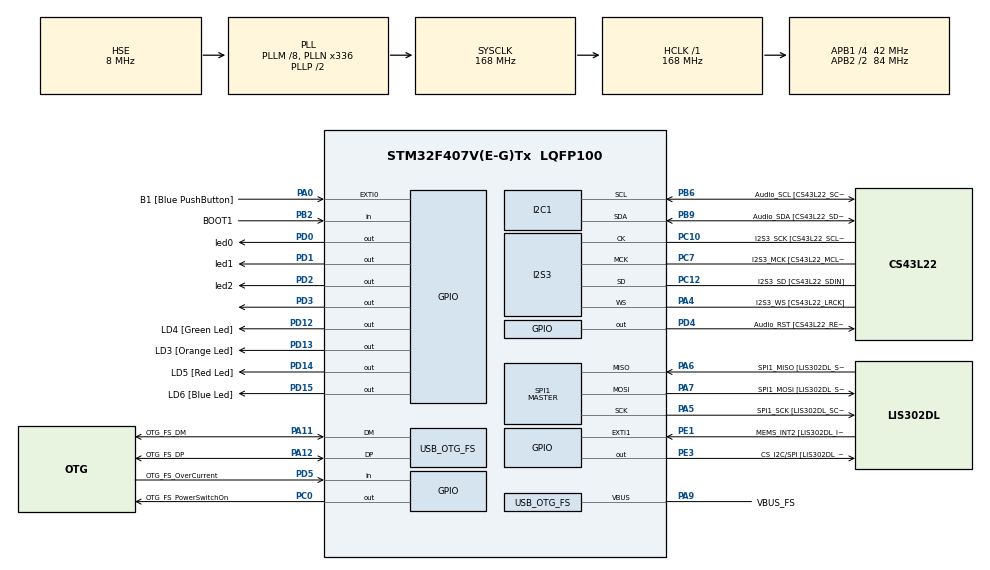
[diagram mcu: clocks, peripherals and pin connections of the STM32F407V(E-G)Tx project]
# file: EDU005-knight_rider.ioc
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I2S3.AudioFreq-Half_Duplex_Master=I2S_AUDIOFREQ_96K
I2S3.ErrorAudioFreq=-2.34 %
I2S3.ErrorAudioFreq-Half_Duplex_Master=0.8 %
I2S3.FullDuplexMode=I2S_FULLDUPLEXMODE_DISABLE
I2S3.Instance=SPI$Index
I2S3.RealAudioFreq=93.75 KHz
I2S3.RealAudioFreq-Half_Duplex_Master=96.774 KHz
I2S3.VirtualMode=I2S_MODE_MASTER
Mcu.Family=STM32F4
Mcu.Name=STM32F407V(E-G)Tx
Mcu.Package=LQFP100
NVIC.OTG_FS_IRQn=true\:0\:0\:false\:false\:true\:true\:true\:true
NVIC.PriorityGroup=NVIC_PRIORITYGROUP_0
NVIC.TIM1_UP_TIM10_IRQn=true\:0\:0\:false\:false\:true\:true\:true\:true
PA0-WKUP.GPIO_Label=B1 [Blue PushButton]
PA0-WKUP.GPIO_ModeDefaultEXTI=GPIO_MODE_EVT_RISING
PA0-WKUP.GPIO_PuPd=GPIO_NOPULL
PA0-WKUP.Signal=GPXTI0
PA10.GPIO_Label=OTG_FS_ID
PA10.GPIO_Mode=GPIO_MODE_AF_PP
PA10.GPIO_PuPd=GPIO_NOPULL
PA10.GPIO_Speed=GPIO_SPEED_FREQ_LOW
PA10.Signal=USB_OTG_FS_ID
PA11.GPIO_Label=OTG_FS_DM
PA11.GPIO_Mode=GPIO_MODE_AF_PP
PA11.GPIO_PuPd=GPIO_NOPULL
PA11.GPIO_Speed=GPIO_SPEED_FREQ_LOW
PA11.Mode=Host_Only
PA11.Signal=USB_OTG_FS_DM
PA12.GPIO_Label=OTG_FS_DP
PA12.GPIO_Mode=GPIO_MODE_AF_PP
PA12.GPIO_PuPd=GPIO_NOPULL
PA12.GPIO_Speed=GPIO_SPEED_FREQ_LOW
PA12.Mode=Host_Only
PA12.Signal=USB_OTG_FS_DP
PA13.GPIO_Label=SWDIO
PA13.Mode=Serial_Wire
PA13.Signal=SYS_JTMS-SWDIO
PA14.GPIO_Label=SWCLK
PA14.Mode=Serial_Wire
PA14.Signal=SYS_JTCK-SWCLK
PA4.GPIO_Label=I2S3_WS [CS43L22_LRCK]
PA4.GPIO_Mode=GPIO_MODE_AF_PP
PA4.GPIO_PuPd=GPIO_NOPULL
PA4.GPIO_Speed=GPIO_SPEED_FREQ_LOW
PA4.Mode=Half_Duplex_Master
PA4.Signal=I2S3_WS
PA5.GPIO_Label=SPI1_SCK [LIS302DL_SCL/SPC]
PA5.GPIO_Mode=GPIO_MODE_AF_PP
PA5.GPIO_PuPd=GPIO_NOPULL
PA5.GPIO_Speed=GPIO_SPEED_FREQ_LOW
PA5.Mode=Full_Duplex_Master
PA5.Signal=SPI1_SCK
PA6.GPIO_Label=SPI1_MISO [LIS302DL_SDO]
PA6.GPIO_Mode=GPIO_MODE_AF_PP
PA6.GPIO_PuPd=GPIO_NOPULL
PA6.GPIO_Speed=GPIO_SPEED_FREQ_LOW
PA6.Mode=Full_Duplex_Master
PA6.Signal=SPI1_MISO
PA7.GPIO_Label=SPI1_MOSI [LIS302DL_SDA/SDI/SDO]
PA7.GPIO_Mode=GPIO_MODE_AF_PP
PA7.GPIO_PuPd=GPIO_NOPULL
PA7.GPIO_Speed=GPIO_SPEED_FREQ_LOW
PA7.Mode=Full_Duplex_Master
PA7.Signal=SPI1_MOSI
PA9.GPIO_Label=VBUS_FS
PA9.GPIO_Mode=GPIO_MODE_INPUT
PA9.GPIO_PuPd=GPIO_NOPULL
PA9.Mode=Activate_VBUS
PA9.Signal=USB_OTG_FS_VBUS
PB10.GPIO_Label=CLK_IN [MP45DT02_CLK]
PB10.GPIO_Mode=GPIO_MODE_AF_PP
PB10.GPIO_PuPd=GPIO_NOPULL
PB10.GPIO_Speed=GPIO_SPEED_FREQ_LOW
PB10.Signal=I2S2_CK
PB2.GPIO_Label=BOOT1
PB2.GPIO_Mode=GPIO_MODE_INPUT
PB2.GPIO_PuPd=GPIO_NOPULL
PB2.Signal=GPIO_Input
PB3.GPIO_Label=SWO
PB3.Signal=SYS_JTDO-SWO
PB6.GPIO_Label=Audio_SCL [CS43L22_SCL]
PB6.GPIO_Mode=GPIO_MODE_AF_OD
PB6.GPIO_Pu=GPIO_PULLUP
PB6.GPIO_PuPd=GPIO_NOPULL
PB6.GPIO_Speed=GPIO_SPEED_FREQ_LOW
PB6.Mode=I2C
PB6.Signal=I2C1_SCL
PB9.GPIO_Label=Audio_SDA [CS43L22_SDA]
PB9.GPIO_Mode=GPIO_MODE_AF_OD
PB9.GPIO_Pu=GPIO_PULLUP
PB9.GPIO_PuPd=GPIO_NOPULL
PB9.GPIO_Speed=GPIO_SPEED_FREQ_LOW
PB9.Mode=I2C
PB9.Signal=I2C1_SDA
PC0.GPIO_Label=OTG_FS_PowerSwitchOn
PC0.GPIO_PuPd=GPIO_NOPULL
PC0.GPIO_Speed=GPIO_SPEED_FREQ_LOW
PC0.PinState=GPIO_PIN_SET
PC0.Signal=GPIO_Output
PC10.GPIO_Label=I2S3_SCK [CS43L22_SCLK]
PC10.GPIO_Mode=GPIO_MODE_AF_PP
PC10.GPIO_PuPd=GPIO_NOPULL
PC10.GPIO_Speed=GPIO_SPEED_FREQ_LOW
PC10.Mode=Half_Duplex_Master
PC10.Signal=I2S3_CK
PC12.GPIO_Label=I2S3_SD [CS43L22_SDIN]
PC12.GPIO_Mode=GPIO_MODE_AF_PP
PC12.GPIO_PuPd=GPIO_NOPULL
PC12.GPIO_Speed=GPIO_SPEED_FREQ_LOW
PC12.Mode=Half_Duplex_Master
PC12.Signal=I2S3_SD
PC14-OSC32_IN.GPIO_Label=PC14-OSC32_IN
PC14-OSC32_IN.Mode=LSE-External-Oscillator
PC14-OSC32_IN.Signal=RCC_OSC32_IN
PC15-OSC32_OUT.GPIO_Label=PC15-OSC32_OUT
PC15-OSC32_OUT.Mode=LSE-External-Oscillator
PC15-OSC32_OUT.Signal=RCC_OSC32_OUT
PC3.GPIO_Label=PDM_OUT [MP45DT02_DOUT]
PC3.GPIO_Mode=GPIO_MODE_AF_PP
PC3.GPIO_PuPd=GPIO_NOPULL
PC3.GPIO_Speed=GPIO_SPEED_FREQ_LOW
PC3.Signal=I2S2_SD
PC7.GPIO_Label=I2S3_MCK [CS43L22_MCLK]
PC7.GPIO_Mode=GPIO_MODE_AF_PP
PC7.GPIO_PuPd=GPIO_NOPULL
PC7.GPIO_Speed=GPIO_SPEED_FREQ_LOW
PC7.Mode=Master_Clock_Activated
PC7.Signal=I2S3_MCK
PD0.GPIO_Label=led0
PD0.Signal=GPIO_Output
PD1.GPIO_Label=led1
PD1.Signal=GPIO_Output
PD12.GPIO_Label=LD4 [Green Led]
PD12.GPIO_PuPd=GPIO_NOPULL
PD12.GPIO_Speed=GPIO_SPEED_FREQ_LOW
PD12.Signal=GPIO_Output
PD13.GPIO_Label=LD3 [Orange Led]
PD13.GPIO_PuPd=GPIO_NOPULL
PD13.GPIO_Speed=GPIO_SPEED_FREQ_LOW
PD13.Signal=GPIO_Output
PD14.GPIO_Label=LD5 [Red Led]
PD14.GPIO_PuPd=GPIO_NOPULL
PD14.GPIO_Speed=GPIO_SPEED_FREQ_LOW
PD14.Signal=GPIO_Output
PD15.GPIO_Label=LD6 [Blue Led]
PD15.GPIO_PuPd=GPIO_NOPULL
PD15.GPIO_Speed=GPIO_SPEED_FREQ_LOW
PD15.Signal=GPIO_Output
PD2.GPIO_Label=led2
PD2.Signal=GPIO_Output
PD3.Signal=GPIO_Output
PD4.GPIO_Label=Audio_RST [CS43L22_RESET]
PD4.GPIO_PuPd=GPIO_NOPULL
PD4.GPIO_Speed=GPIO_SPEED_FREQ_LOW
PD4.Signal=GPIO_Output
PD5.GPIO_Label=OTG_FS_OverCurrent
PD5.GPIO_Mode=GPIO_MODE_INPUT
PD5.GPIO_PuPd=GPIO_NOPULL
PD5.Signal=GPIO_Input
PE1.GPIO_Label=MEMS_INT2 [LIS302DL_INT2]
PE1.GPIO_ModeDefaultEXTI=GPIO_MODE_EVT_RISING
PE1.GPIO_PuPd=GPIO_NOPULL
PE1.Signal=GPXTI1
PE3.GPIO_Label=CS_I2C/SPI [LIS302DL_CS_I2C/SPI]
PE3.GPIO_PuPd=GPIO_NOPULL
PE3.GPIO_Speed=GPIO_SPEED_FREQ_LOW
PE3.Signal=GPIO_Output
PH0-OSC_IN.GPIO_Label=PH0-OSC_IN
PH0-OSC_IN.Mode=HSE-External-Oscillator
PH0-OSC_IN.Signal=RCC_OSC_IN
PH1-OSC_OUT.GPIO_Label=PH1-OSC_OUT
PH1-OSC_OUT.Mode=HSE-External-Oscillator
PH1-OSC_OUT.Signal=RCC_OSC_OUT
ProjectManager.HeapSize=0x200
ProjectManager.StackSize=0x400
ProjectManager.TargetToolchain=STM32CubeIDE
RCC.48MHZClocksFreq_Value=48000000
RCC.AHBFreq_Value=168000000
RCC.APB1CLKDivider=RCC_HCLK_DIV4
RCC.APB1Freq_Value=42000000
RCC.APB1TimFreq_Value=84000000
RCC.APB2CLKDivider=RCC_HCLK_DIV2
RCC.APB2Freq_Value=84000000
RCC.APB2TimFreq_Value=168000000
RCC.CortexFreq_Value=168000000
RCC.HCLKFreq_Value=168000000
RCC.HSE_VALUE=8000000
RCC.HSI_VALUE=16000000
RCC.PLLM=8
RCC.PLLN=336
RCC.PLLQ=7
RCC.SYSCLKFreq_VALUE=168000000
RCC.SYSCLKSource=RCC_SYSCLKSOURCE_PLLCLK
RCC.VCOOutputFreq_Value=336000000
SPI1.BaudRatePrescaler-Full_Duplex_Master=SPI_BAUDRATEPRESCALER_2
SPI1.CalculateBaudRate-Full_Duplex_Master=42.0 MBits/s
SPI1.Direction=SPI_DIRECTION_2LINES
SPI1.Mode=SPI_MODE_MASTER
SPI1.Mode-Full_Duplex_Master=SPI_MODE_MASTER
SPI1.VirtualType=VM_MASTER
TIM1.Period=9999
TIM1.Prescaler=16800 - 1
USB_HOST.BSP.number=1
USB_HOST.USBH_HandleTypeDef-CDC_FS=hUsbHostFS
USB_HOST.VirtualModeFS=Cdc
USB_HOST0.BSP.STBoard=false
USB_HOST0.BSP.api=Unknown
USB_HOST0.BSP.i2caddr=0
USB_HOST0.BSP.i2creg=0
USB_HOST0.BSP.instance=PC0
USB_HOST0.BSP.ip=GPIO
USB_HOST0.BSP.mode=Output
USB_HOST0.BSP.name=Drive_VBUS_FS
USB_HOST0.BSP.solution=PC0
USB_OTG_FS.VirtualMode=Host_Only
USB_OTG_FS.phy_itface=HCD_PHY_EMBEDDED
VP_TIM1_VS_ClockSourceINT.Mode=Internal
VP_USB_HOST_VS_USB_HOST_CDC_FS.Mode=CDC_FS
board=STM32F407G-DISC1

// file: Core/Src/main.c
/* USER CODE BEGIN Header */
/**
  ******************************************************************************
  * @file           : main.c
  * @brief          : Main program body
  ******************************************************************************
  * @attention
  *
  * Copyright (c) 2022 STMicroelectronics.
  * All rights reserved.
  *
  * This software is licensed under terms that can be found in the LICENSE file
  * in the root directory of this software component.
  * If no LICENSE file comes with this software, it is provided AS-IS.
  *
  ******************************************************************************
  */
/* USER CODE END Header */
#include "main.h"
#include "usb_host.h"

 I2C_HandleTypeDef hi2c1;

I2S_HandleTypeDef hi2s3;

SPI_HandleTypeDef hspi1;

TIM_HandleTypeDef htim1;

/* USER CODE BEGIN PV */
uint16_t try = 0 ;
uint16_t count1 = 0 ;
int ledArray[3] = {led0_Pin,led1_Pin,led2_Pin};

/* USER CODE END PV */

void SystemClock_Config(void);
static void MX_GPIO_Init(void);
static void MX_I2C1_Init(void);
static void MX_I2S3_Init(void);
static void MX_SPI1_Init(void);
static void MX_TIM1_Init(void);
void MX_USB_HOST_Process(void);

int main(void)
{

  /* MCU Configuration--------------------------------------------------------*/

  /* Reset of all peripherals, Initializes the Flash interface and the Systick. */
  HAL_Init();

  /* Configure the system clock */
  SystemClock_Config();

  /* Initialize all configured peripherals */
  MX_GPIO_Init();
  MX_I2C1_Init();
  MX_I2S3_Init();
  MX_SPI1_Init();
  MX_USB_HOST_Init();
  MX_TIM1_Init();

  /* Infinite loop */
  /* USER CODE BEGIN WHILE */
  while (1)
  {
	  for (int i = 0 ; i < 3;i++){
		  HAL_GPIO_WritePin(GPIOD, ledArray[i],GPIO_PIN_SET);
		  HAL_Delay(200);
		  HAL_GPIO_WritePin(GPIOD, ledArray[i], GPIO_PIN_RESET);
		  HAL_Delay(200);
	  }
	  for (int i = 1 ; i > 0;i--){
		  HAL_GPIO_WritePin(GPIOD, ledArray[i],GPIO_PIN_SET);
	  	  HAL_Delay(200);
	  	  HAL_GPIO_WritePin(GPIOD, ledArray[i], GPIO_PIN_RESET);
	  	  HAL_Delay(200);
	  	  }
    /* USER CODE END WHILE */
    MX_USB_HOST_Process();

  }
}

void SystemClock_Config(void)
{
  RCC_OscInitTypeDef RCC_OscInitStruct = {0};
  RCC_ClkInitTypeDef RCC_ClkInitStruct = {0};

  /** Configure the main internal regulator output voltage
  */
  __HAL_RCC_PWR_CLK_ENABLE();
  __HAL_PWR_VOLTAGESCALING_CONFIG(PWR_REGULATOR_VOLTAGE_SCALE1);

  /** Initializes the RCC Oscillators according to the specified parameters
  * in the RCC_OscInitTypeDef structure.
  */
  RCC_OscInitStruct.OscillatorType = RCC_OSCILLATORTYPE_HSE;
  RCC_OscInitStruct.HSEState = RCC_HSE_ON;
  RCC_OscInitStruct.PLL.PLLState = RCC_PLL_ON;
  RCC_OscInitStruct.PLL.PLLSource = RCC_PLLSOURCE_HSE;
  RCC_OscInitStruct.PLL.PLLM = 8;
  RCC_OscInitStruct.PLL.PLLN = 336;
  RCC_OscInitStruct.PLL.PLLP = RCC_PLLP_DIV2;
  RCC_OscInitStruct.PLL.PLLQ = 7;
  if (HAL_RCC_OscConfig(&RCC_OscInitStruct) != HAL_OK)
  {
    Error_Handler();
  }

  /** Initializes the CPU, AHB and APB buses clocks
  */
  RCC_ClkInitStruct.ClockType = RCC_CLOCKTYPE_HCLK|RCC_CLOCKTYPE_SYSCLK
                              |RCC_CLOCKTYPE_PCLK1|RCC_CLOCKTYPE_PCLK2;
  RCC_ClkInitStruct.SYSCLKSource = RCC_SYSCLKSOURCE_PLLCLK;
  RCC_ClkInitStruct.AHBCLKDivider = RCC_SYSCLK_DIV1;
  RCC_ClkInitStruct.APB1CLKDivider = RCC_HCLK_DIV4;
  RCC_ClkInitStruct.APB2CLKDivider = RCC_HCLK_DIV2;

  if (HAL_RCC_ClockConfig(&RCC_ClkInitStruct, FLASH_LATENCY_5) != HAL_OK)
  {
    Error_Handler();
  }
}

static void MX_I2C1_Init(void)
{

  hi2c1.Instance = I2C1;
  hi2c1.Init.ClockSpeed = 100000;
  hi2c1.Init.DutyCycle = I2C_DUTYCYCLE_2;
  hi2c1.Init.OwnAddress1 = 0;
  hi2c1.Init.AddressingMode = I2C_ADDRESSINGMODE_7BIT;
  hi2c1.Init.DualAddressMode = I2C_DUALADDRESS_DISABLE;
  hi2c1.Init.OwnAddress2 = 0;
  hi2c1.Init.GeneralCallMode = I2C_GENERALCALL_DISABLE;
  hi2c1.Init.NoStretchMode = I2C_NOSTRETCH_DISABLE;
  if (HAL_I2C_Init(&hi2c1) != HAL_OK)
  {
    Error_Handler();
  }

}

static void MX_I2S3_Init(void)
{

  hi2s3.Instance = SPI3;
  hi2s3.Init.Mode = I2S_MODE_MASTER_TX;
  hi2s3.Init.Standard = I2S_STANDARD_PHILIPS;
  hi2s3.Init.DataFormat = I2S_DATAFORMAT_16B;
  hi2s3.Init.MCLKOutput = I2S_MCLKOUTPUT_ENABLE;
  hi2s3.Init.AudioFreq = I2S_AUDIOFREQ_96K;
  hi2s3.Init.CPOL = I2S_CPOL_LOW;
  hi2s3.Init.ClockSource = I2S_CLOCK_PLL;
  hi2s3.Init.FullDuplexMode = I2S_FULLDUPLEXMODE_DISABLE;
  if (HAL_I2S_Init(&hi2s3) != HAL_OK)
  {
    Error_Handler();
  }

}

static void MX_SPI1_Init(void)
{

  /* SPI1 parameter configuration*/
  hspi1.Instance = SPI1;
  hspi1.Init.Mode = SPI_MODE_MASTER;
  hspi1.Init.Direction = SPI_DIRECTION_2LINES;
  hspi1.Init.DataSize = SPI_DATASIZE_8BIT;
  hspi1.Init.CLKPolarity = SPI_POLARITY_LOW;
  hspi1.Init.CLKPhase = SPI_PHASE_1EDGE;
  hspi1.Init.NSS = SPI_NSS_SOFT;
  hspi1.Init.BaudRatePrescaler = SPI_BAUDRATEPRESCALER_2;
  hspi1.Init.FirstBit = SPI_FIRSTBIT_MSB;
  hspi1.Init.TIMode = SPI_TIMODE_DISABLE;
  hspi1.Init.CRCCalculation = SPI_CRCCALCULATION_DISABLE;
  hspi1.Init.CRCPolynomial = 10;
  if (HAL_SPI_Init(&hspi1) != HAL_OK)
  {
    Error_Handler();
  }

}

static void MX_TIM1_Init(void)
{

  TIM_ClockConfigTypeDef sClockSourceConfig = {0};
  TIM_MasterConfigTypeDef sMasterConfig = {0};

  htim1.Instance = TIM1;
  htim1.Init.Prescaler = 16800 - 1;
  htim1.Init.CounterMode = TIM_COUNTERMODE_UP;
  htim1.Init.Period = 9999;
  htim1.Init.ClockDivision = TIM_CLOCKDIVISION_DIV1;
  htim1.Init.RepetitionCounter = 0;
  htim1.Init.AutoReloadPreload = TIM_AUTORELOAD_PRELOAD_DISABLE;
  if (HAL_TIM_Base_Init(&htim1) != HAL_OK)
  {
    Error_Handler();
  }
  sClockSourceConfig.ClockSource = TIM_CLOCKSOURCE_INTERNAL;
  if (HAL_TIM_ConfigClockSource(&htim1, &sClockSourceConfig) != HAL_OK)
  {
    Error_Handler();
  }
  sMasterConfig.MasterOutputTrigger = TIM_TRGO_RESET;
  sMasterConfig.MasterSlaveMode = TIM_MASTERSLAVEMODE_DISABLE;
  if (HAL_TIMEx_MasterConfigSynchronization(&htim1, &sMasterConfig) != HAL_OK)
  {
    Error_Handler();
  }

}

static void MX_GPIO_Init(void)
{
  GPIO_InitTypeDef GPIO_InitStruct = {0};

  /* GPIO Ports Clock Enable */
  __HAL_RCC_GPIOE_CLK_ENABLE();
  __HAL_RCC_GPIOC_CLK_ENABLE();
  __HAL_RCC_GPIOH_CLK_ENABLE();
  __HAL_RCC_GPIOA_CLK_ENABLE();
  __HAL_RCC_GPIOB_CLK_ENABLE();
  __HAL_RCC_GPIOD_CLK_ENABLE();

  /*Configure GPIO pin Output Level */
  HAL_GPIO_WritePin(CS_I2C_SPI_GPIO_Port, CS_I2C_SPI_Pin, GPIO_PIN_RESET);

  /*Configure GPIO pin Output Level */
  HAL_GPIO_WritePin(OTG_FS_PowerSwitchOn_GPIO_Port, OTG_FS_PowerSwitchOn_Pin, GPIO_PIN_SET);

  /*Configure GPIO pin Output Level */
  HAL_GPIO_WritePin(GPIOD, LD4_Pin|LD3_Pin|LD5_Pin|LD6_Pin
                          |led0_Pin|led1_Pin|led2_Pin|GPIO_PIN_3
                          |Audio_RST_Pin, GPIO_PIN_RESET);

  /*Configure GPIO pin : CS_I2C_SPI_Pin */
  GPIO_InitStruct.Pin = CS_I2C_SPI_Pin;
  GPIO_InitStruct.Mode = GPIO_MODE_OUTPUT_PP;
  GPIO_InitStruct.Pull = GPIO_NOPULL;
  GPIO_InitStruct.Speed = GPIO_SPEED_FREQ_LOW;
  HAL_GPIO_Init(CS_I2C_SPI_GPIO_Port, &GPIO_InitStruct);

  /*Configure GPIO pin : OTG_FS_PowerSwitchOn_Pin */
  GPIO_InitStruct.Pin = OTG_FS_PowerSwitchOn_Pin;
  GPIO_InitStruct.Mode = GPIO_MODE_OUTPUT_PP;
  GPIO_InitStruct.Pull = GPIO_NOPULL;
  GPIO_InitStruct.Speed = GPIO_SPEED_FREQ_LOW;
  HAL_GPIO_Init(OTG_FS_PowerSwitchOn_GPIO_Port, &GPIO_InitStruct);

  /*Configure GPIO pin : PDM_OUT_Pin */
  GPIO_InitStruct.Pin = PDM_OUT_Pin;
  GPIO_InitStruct.Mode = GPIO_MODE_AF_PP;
  GPIO_InitStruct.Pull = GPIO_NOPULL;
  GPIO_InitStruct.Speed = GPIO_SPEED_FREQ_LOW;
  GPIO_InitStruct.Alternate = GPIO_AF5_SPI2;
  HAL_GPIO_Init(PDM_OUT_GPIO_Port, &GPIO_InitStruct);

  /*Configure GPIO pin : B1_Pin */
  GPIO_InitStruct.Pin = B1_Pin;
  GPIO_InitStruct.Mode = GPIO_MODE_EVT_RISING;
  GPIO_InitStruct.Pull = GPIO_NOPULL;
  HAL_GPIO_Init(B1_GPIO_Port, &GPIO_InitStruct);

  /*Configure GPIO pin : BOOT1_Pin */
  GPIO_InitStruct.Pin = BOOT1_Pin;
  GPIO_InitStruct.Mode = GPIO_MODE_INPUT;
  GPIO_InitStruct.Pull = GPIO_NOPULL;
  HAL_GPIO_Init(BOOT1_GPIO_Port, &GPIO_InitStruct);

  /*Configure GPIO pin : CLK_IN_Pin */
  GPIO_InitStruct.Pin = CLK_IN_Pin;
  GPIO_InitStruct.Mode = GPIO_MODE_AF_PP;
  GPIO_InitStruct.Pull = GPIO_NOPULL;
  GPIO_InitStruct.Speed = GPIO_SPEED_FREQ_LOW;
  GPIO_InitStruct.Alternate = GPIO_AF5_SPI2;
  HAL_GPIO_Init(CLK_IN_GPIO_Port, &GPIO_InitStruct);

  /*Configure GPIO pins : LD4_Pin LD3_Pin LD5_Pin LD6_Pin
                           led0_Pin led1_Pin led2_Pin PD3
                           Audio_RST_Pin */
  GPIO_InitStruct.Pin = LD4_Pin|LD3_Pin|LD5_Pin|LD6_Pin
                          |led0_Pin|led1_Pin|led2_Pin|GPIO_PIN_3
                          |Audio_RST_Pin;
  GPIO_InitStruct.Mode = GPIO_MODE_OUTPUT_PP;
  GPIO_InitStruct.Pull = GPIO_NOPULL;
  GPIO_InitStruct.Speed = GPIO_SPEED_FREQ_LOW;
  HAL_GPIO_Init(GPIOD, &GPIO_InitStruct);

  /*Configure GPIO pin : OTG_FS_OverCurrent_Pin */
  GPIO_InitStruct.Pin = OTG_FS_OverCurrent_Pin;
  GPIO_InitStruct.Mode = GPIO_MODE_INPUT;
  GPIO_InitStruct.Pull = GPIO_NOPULL;
  HAL_GPIO_Init(OTG_FS_OverCurrent_GPIO_Port, &GPIO_InitStruct);

  /*Configure GPIO pin : MEMS_INT2_Pin */
  GPIO_InitStruct.Pin = MEMS_INT2_Pin;
  GPIO_InitStruct.Mode = GPIO_MODE_EVT_RISING;
  GPIO_InitStruct.Pull = GPIO_NOPULL;
  HAL_GPIO_Init(MEMS_INT2_GPIO_Port, &GPIO_InitStruct);

}

/* USER CODE BEGIN 4 */
void HAL_TIM_PeriodElapsedCallback(TIM_HandleTypeDef *htim)
{
  /* Prevent unused argument(s) compilation warning */
  //UNUSED(htim);
		if(htim-> Instance== TIM1){
			try++;
			count1 = HAL_GetTick();
			HAL_GPIO_TogglePin(GPIOD,GPIO_PIN_15);
	}
  /* NOTE : This function should not be modified, when the callback is needed,
            the HAL_TIM_PeriodElapsedCallback could be implemented in the user file
   */
}
/* USER CODE END 4 */

void Error_Handler(void)
{
  __disable_irq();
  while (1)
  {
  }
}
